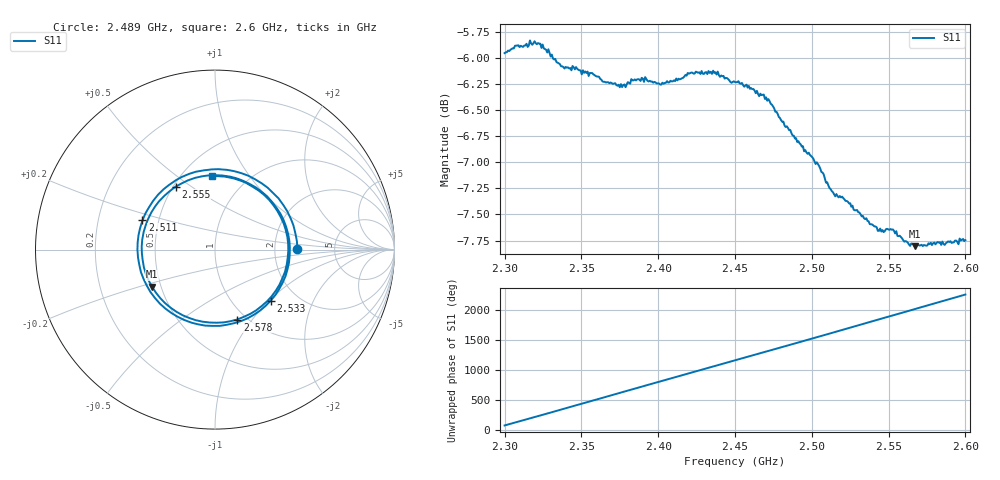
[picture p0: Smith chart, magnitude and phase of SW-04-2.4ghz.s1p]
! NanoVNA-App
! Date: 2026-05-22 18:58:20
! Start: 2.3GHz Stop: 2.6GHz Points: 401
! S-Parameter data: F S11
# Hz S RI R 50
!  Frequency  S11_Real  S11_Imag
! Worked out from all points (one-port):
!   401 points, 2.3 GHz to 2.6 GHz, reference 50 ohm
!   lowest |S11| = -7.8 dB at 2.567 GHz (marker M1), VSWR 2.37, Z = 22.3 - j11.1 ohm
!   |S11| at or under -10 dB: nowhere
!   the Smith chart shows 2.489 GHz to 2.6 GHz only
!   S11 on the Smith chart (normalised r, x): 2.489 GHz: 2.69, +0.02; 2.511 GHz: 0.41, +0.16; 2.533 GHz: 1.48, -1.02; 2.555 GHz: 0.51, +0.44; 2.578 GHz: 0.91, -0.85; 2.6 GHz: 0.69, +0.68
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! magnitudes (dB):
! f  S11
! 2.3 GHz  -6.0
! 2.308 GHz  -5.9
! 2.321 GHz  -5.9
! 2.337 GHz  -6.1
! 2.346 GHz  -6.1
! 2.375 GHz  -6.3
! 2.384 GHz  -6.2
! 2.391 GHz  -6.2
! 2.401 GHz  -6.2
! 2.413 GHz  -6.2
! 2.421 GHz  -6.1
! 2.434 GHz  -6.1
! 2.45 GHz  -6.2
! 2.47 GHz  -6.4
! 2.487 GHz  -6.7
! 2.489 GHz  -6.8
! 2.505 GHz  -7.0
! 2.511 GHz  -7.2
! 2.516 GHz  -7.3
! 2.525 GHz  -7.4
! 2.533 GHz  -7.5
! 2.544 GHz  -7.7
! 2.551 GHz  -7.6
! 2.555 GHz  -7.7
! 2.562 GHz  -7.8
! 2.567 GHz  -7.8
! 2.578 GHz  -7.8
! 2.6 GHz  -7.7
